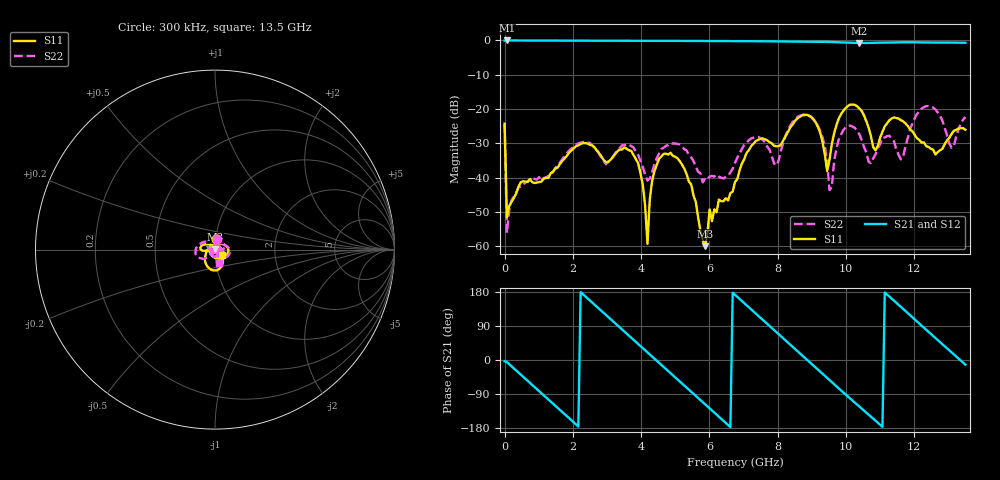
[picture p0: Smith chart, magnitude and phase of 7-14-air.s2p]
!Agilent Technologies,N5230C,MY48100320,A.08.04.10
!Agilent N5230C: A.08.04.10
!Date: Friday, July 15, 2016 04:10:22
!Correction: S11(Full 2 Port(1,2))
!S21(Full 2 Port(1,2))
!S12(Full 2 Port(1,2))
!S22(Full 2 Port(1,2))
!S2P File: Measurements: S11, S21, S12, S22:
# Hz S  dB  R 50
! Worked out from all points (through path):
!   201 points, 300 kHz to 13.5 GHz, reference 50 ohm
!   highest |S21| = -0.01 dB at 67.8 MHz (marker M1); lowest = -0.8 dB at 10.4 GHz (marker M2)
!   group delay of S21, straight-line fit = 225 ps
!   lowest |S11| = -59.9 dB at 5.873 GHz (marker M3), VSWR 1.00, Z = 50 + j0.0954 ohm
!   |S11| at or under -10 dB: start of sweep to end of sweep
!   |S22| runs from -56.1 to -19.1 dB; largest |S21 - S12| = 0.0063
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300000  -24.24 83.4  -0.07 -3.4  -0.04 -3.7  -24.33 80.3
6.77985e7  -51.61 68.2  -0.01 -5.5  -0.01 -5.6  -56.06 58.3
1.147774e9  -40.24 153.0  -0.04 -93.4  -0.04 -93.4  -40.09 -170.2
2.295249e9  -29.94 -125.7  -0.08 173.5  -0.07 173.5  -29.60 -70.8
3.712718e9  -32.21 -61.0  -0.11 58.5  -0.10 58.5  -30.78 -23.6
4.05021e9  -42.14 -78.6  -0.11 31.1  -0.12 31.1  -36.82 -87.9
4.185207e9  -59.25 -178.9  -0.12 20.2  -0.12 20.2  -40.82 -138.9
4.5227e9  -34.52 79.9  -0.13 -7.2  -0.13 -7.2  -33.01 102.0
5.265183e9  -37.35 30.1  -0.14 -67.4  -0.14 -67.4  -31.67 5.0
5.87267e9  -59.95 108.3  -0.16 -116.7  -0.16 -116.8  -40.16 -137.2
6.75015e9  -41.22 129.3  -0.20 172.0  -0.20 172.0  -35.66 -11.4
7.830126e9  -30.03 127.2  -0.27 84.3  -0.26 84.2  -33.90 -164.7
9.045099e9  -22.91 158.5  -0.39 -14.4  -0.39 -14.4  -23.07 -38.2
9.517588e9  -34.85 4.9  -0.44 -52.9  -0.44 -52.9  -43.58 -61.4
9.92258e9  -20.55 -64.9  -0.60 -85.7  -0.59 -85.7  -26.15 49.2
1.039507e10  -19.80 -115.4  -0.75 -122.9  -0.74 -123.0  -27.35 -3.8
1.086756e10  -32.00 116.2  -0.67 -160.0  -0.67 -160.1  -33.20 -160.5
1.127255e10  -23.24 12.6  -0.61 167.4  -0.61 167.5  -27.78 152.6
1.161004e10  -23.23 -32.2  -0.55 140.2  -0.54 140.1  -34.66 174.6
1.235253e10  -30.82 178.0  -0.60 79.6  -0.59 79.6  -19.13 -165.9
1.309501e10  -27.26 -6.3  -0.63 20.0  -0.63 19.9  -31.31 46.9
1.35e10  -26.02 -33.6  -0.67 -12.3  -0.66 -12.4  -22.29 -71.7
